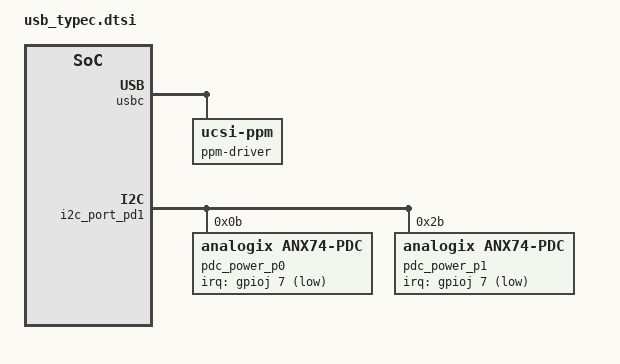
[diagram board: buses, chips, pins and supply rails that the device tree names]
/*
 * Copyright 2025 The ChromiumOS Authors
 *
 * SPDX-License-Identifier: Apache-2.0
 */

#include <usbc-policy.dtsi>

 /{
	usbc {
		#address-cells = <1>;
		#size-cells = <0>;
		usbc_port0: port0@0 {
			compatible = "named-usbc-port";
			reg = <0>;
			chg = <&charger>;
			pdc = <&pdc_power_p0>;
			pd-retimer;
			policy = <&cros_policy>;
		};
		usbc_port1: port1@1 {
			compatible = "named-usbc-port";
			reg = <1>;
			pdc = <&pdc_power_p1>;
			pd-retimer;
			policy = <&cros_policy>;
		};
		ppm-driver {
			compatible = "ucsi-ppm";
		};
	};
};

&i2c_port_pd1 {
	/* Define PDC IRQ GPIO(s) in board overlay */
	pdc_power_p0: anx74-pdc@b {
		compatible = "analogix,anx74-pdc";
		reg = <0xb>;
		irq-gpios = <&gpioj 7 GPIO_ACTIVE_LOW>;
		ccd;
	};
	pdc_power_p1: anx74-pdc@2b {
		compatible = "analogix,anx74-pdc";
		reg = <0x2b>;
		irq-gpios = <&gpioj 7 GPIO_ACTIVE_LOW>;
		no-fw-update;
	};
};
